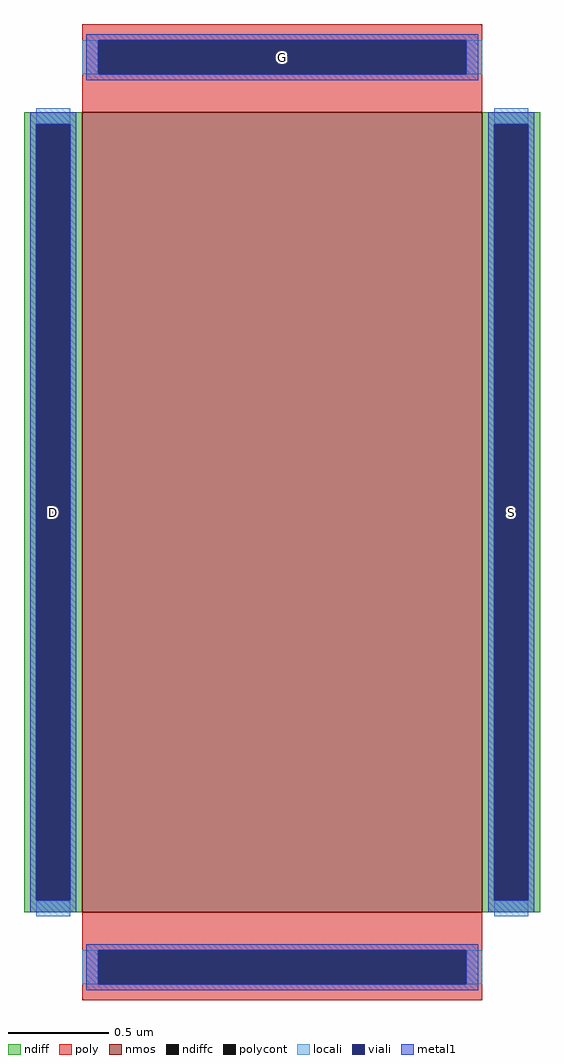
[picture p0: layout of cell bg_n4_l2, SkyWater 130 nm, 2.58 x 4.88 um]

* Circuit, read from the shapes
.subckt bg_n4_l2 D S G
XM1 S G D VSUBS sky130_fd_pr__nfet_01v8 w=4 l=2
.ends

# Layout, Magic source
magic
tech sky130A
magscale 1 2
<< nmos >>
rect -200 -400 200 400
<< ndiff >>
rect -258 388 -200 400
rect -258 -388 -246 388
rect -212 -388 -200 388
rect -258 -400 -200 -388
rect 200 388 258 400
rect 200 -388 212 388
rect 246 -388 258 388
rect 200 -400 258 -388
<< ndiffc >>
rect -246 -388 -212 388
rect 212 -388 246 388
<< poly >>
rect -200 472 200 488
rect -200 438 -184 472
rect 184 438 200 472
rect -200 400 200 438
rect -200 -438 200 -400
rect -200 -472 -184 -438
rect 184 -472 200 -438
rect -200 -488 200 -472
<< polycont >>
rect -184 438 184 472
rect -184 -472 184 -438
<< locali >>
rect -200 438 -184 472
rect 184 438 200 472
rect -246 388 -212 404
rect -246 -404 -212 -388
rect 212 388 246 404
rect 212 -404 246 -388
rect -200 -472 -184 -438
rect 184 -472 200 -438
<< viali >>
rect -184 438 184 472
rect -246 -388 -212 388
rect 212 -388 246 388
rect -184 -472 184 -438
<< metal1 >>
rect -196 472 196 478
rect -196 438 -184 472
rect 184 438 196 472
rect -196 432 196 438
rect -252 388 -206 400
rect -252 -388 -246 388
rect -212 -388 -206 388
rect -252 -400 -206 -388
rect 206 388 252 400
rect 206 -388 212 388
rect 246 -388 252 388
rect 206 -400 252 -388
rect -196 -438 196 -432
rect -196 -472 -184 -438
rect 184 -472 196 -438
rect -196 -478 196 -472
<< labels >>
rlabel ndiffc -229 0 -229 0 0 D
port 1 nsew
rlabel ndiffc 229 0 229 0 0 S
port 2 nsew
rlabel polycont 0 455 0 455 0 G
port 3 nsew
<< end >>
